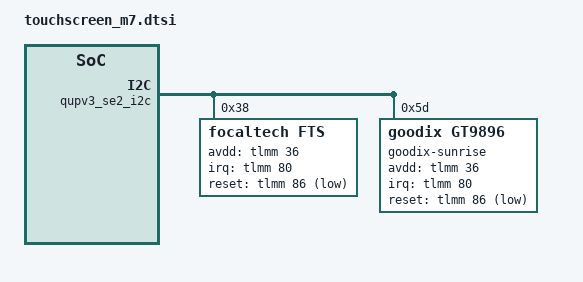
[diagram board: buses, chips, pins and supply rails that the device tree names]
/*
 * TouchScreen Device Tree For Xiaomi m7
 */

&soc {
        xiaomi_touch {
                status = "okay";
                compatible = "xiaomi-touch";
                touch,name = "xiaomi-touch";
        };
};

&qupv3_se2_i2c {
	qcom,i2c-touch-active = "focaltech,fts";
	qcom,touch-active = "goodix,gt9896";
	status = "ok";
    
	focaltech@38 {
	        compatible = "focaltech,fts";
		focaltech,avdd-gpio = <&tlmm 36 0>;
		focaltech,display-coords = <0 0 10799 23999>;
		focaltech,irq-gpio = <&tlmm 80 2>;
		focaltech,max-touch-number = <10>;
		focaltech,reset-gpio = <&tlmm 86 1>;
		interrupt-parent = <&tlmm>;
		interrupts = <80 2>;
		panel = <&dsi_panel_m7_38_0c_0a_fhdp_video>;
		pinctrl-0 = <&ts_int_active &ts_reset_active &ts_avdd>;
		pinctrl-1 = <&ts_int_suspend &ts_reset_suspend>;
		pinctrl-2 = <&ts_release>;
		pinctrl-names = "pmx_ts_active", "pmx_ts_suspend", "pmx_ts_release";
		reg = <0x38>;
		status = "okay";
	};

        goodix-sunrise@5d {
	        compatible = "goodix,gt9896";
		goodix,avdd-gpio = <&tlmm 36 0>;
	        goodix,irq-flags = <2>;
		goodix,irq-gpio = <&tlmm 80 2>;
	        goodix,panel-max-w = <255>;
		goodix,panel-max-x = <10800>;
	        goodix,panel-max-y = <24000>;
	        goodix,reset-gpio = <&tlmm 86 1>;
		interrupt-parent = <&tlmm>;
		interrupts = <80 2>;
		panel = <&dsi_panel_m7_38_0c_0b_fhdp_video>;
		pinctrl-0 = <&ts_int_active &ts_reset_active &ts_avdd>;
		pinctrl-1 = <&ts_int_suspend &ts_reset_suspend>;
		pinctrl-2 = <&ts_release>;
		pinctrl-names = "pmx_ts_active", "pmx_ts_suspend", "pmx_ts_release";
		reg = <0x5D>;
		status = "okay";
	};
};
